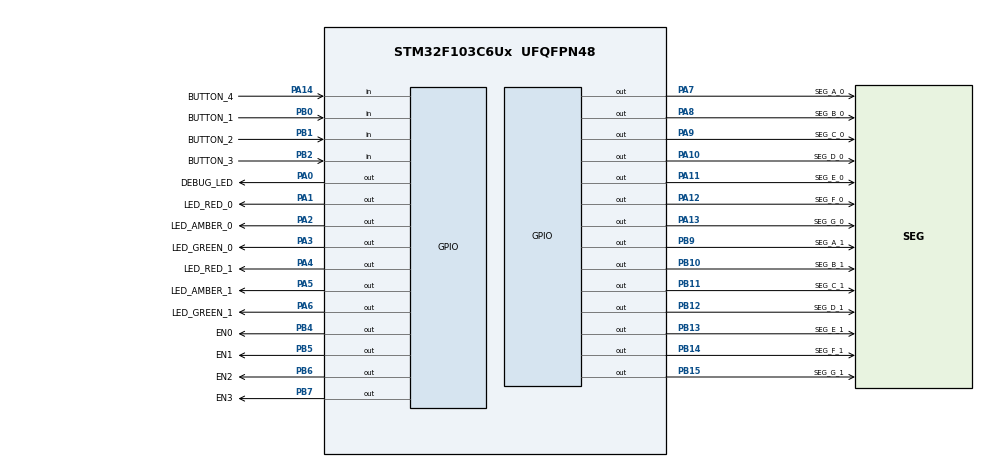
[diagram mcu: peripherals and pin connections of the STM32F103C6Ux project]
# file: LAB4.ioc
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Mcu.Family=STM32F1
Mcu.Name=STM32F103C6Ux
Mcu.Package=UFQFPN48
NVIC.PriorityGroup=NVIC_PRIORITYGROUP_4
NVIC.TIM2_IRQn=true\:0\:0\:false\:false\:true\:true\:true
PA0-WKUP.GPIO_Label=DEBUG_LED
PA0-WKUP.Signal=GPIO_Output
PA1.GPIO_Label=LED_RED_0
PA1.Signal=GPIO_Output
PA10.GPIO_Label=SEG_D_0
PA10.Signal=GPIO_Output
PA11.GPIO_Label=SEG_E_0
PA11.Signal=GPIO_Output
PA12.GPIO_Label=SEG_F_0
PA12.Signal=GPIO_Output
PA13.GPIO_Label=SEG_G_0
PA13.Signal=GPIO_Output
PA14.GPIO_Label=BUTTON_4
PA14.GPIO_PuPd=GPIO_PULLUP
PA14.Signal=GPIO_Input
PA2.GPIO_Label=LED_AMBER_0
PA2.Signal=GPIO_Output
PA3.GPIO_Label=LED_GREEN_0
PA3.Signal=GPIO_Output
PA4.GPIO_Label=LED_RED_1
PA4.Signal=GPIO_Output
PA5.GPIO_Label=LED_AMBER_1
PA5.Signal=GPIO_Output
PA6.GPIO_Label=LED_GREEN_1
PA6.Signal=GPIO_Output
PA7.GPIO_Label=SEG_A_0
PA7.Signal=GPIO_Output
PA8.GPIO_Label=SEG_B_0
PA8.Signal=GPIO_Output
PA9.GPIO_Label=SEG_C_0
PA9.Signal=GPIO_Output
PB0.GPIO_Label=BUTTON_1
PB0.GPIO_PuPd=GPIO_PULLUP
PB0.Signal=GPIO_Input
PB1.GPIO_Label=BUTTON_2
PB1.GPIO_PuPd=GPIO_PULLUP
PB1.Signal=GPIO_Input
PB10.GPIO_Label=SEG_B_1
PB10.Signal=GPIO_Output
PB11.GPIO_Label=SEG_C_1
PB11.Signal=GPIO_Output
PB12.GPIO_Label=SEG_D_1
PB12.Signal=GPIO_Output
PB13.GPIO_Label=SEG_E_1
PB13.Signal=GPIO_Output
PB14.GPIO_Label=SEG_F_1
PB14.Signal=GPIO_Output
PB15.GPIO_Label=SEG_G_1
PB15.Signal=GPIO_Output
PB2.GPIO_Label=BUTTON_3
PB2.GPIO_PuPd=GPIO_PULLUP
PB2.Signal=GPIO_Input
PB4.GPIO_Label=EN0
PB4.Signal=GPIO_Output
PB5.GPIO_Label=EN1
PB5.Signal=GPIO_Output
PB6.GPIO_Label=EN2
PB6.Signal=GPIO_Output
PB7.GPIO_Label=EN3
PB7.Signal=GPIO_Output
PB9.GPIO_Label=SEG_A_1
PB9.Signal=GPIO_Output
ProjectManager.HeapSize=0x200
ProjectManager.StackSize=0x400
ProjectManager.TargetToolchain=STM32CubeIDE
RCC.APB1Freq_Value=8000000
RCC.APB2Freq_Value=8000000
TIM2.Period=9
TIM2.Prescaler=7999
VP_SYS_VS_ND.Mode=No_Debug
VP_TIM2_VS_ClockSourceINT.Mode=Internal
board=custom

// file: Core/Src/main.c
/* USER CODE BEGIN Header */
/**
  ******************************************************************************
  * @file           : main.c
  * @brief          : Main program body
  ******************************************************************************
  * @attention
  *
  * <h2><center>&copy; Copyright (c) 2025 STMicroelectronics.
  * All rights reserved.</center></h2>
  *
  * This software component is licensed by ST under BSD 3-Clause license,
  * the "License"; You may not use this file except in compliance with the
  * License. You may obtain a copy of the License at:
  *                        opensource.org/licenses/BSD-3-Clause
  *
  ******************************************************************************
  */
/* USER CODE END Header */
#include "main.h"

/* USER CODE BEGIN Includes */
#include "global.h"
#include "scheduler.h"
#include "input_reading.h"
#include "display7SEG.h"
#include "displayLED.h"
#include "fsm_automatic.h"
#include "fsm_manual.h"
#include "fsm_config.h"
/* USER CODE END Includes */

TIM_HandleTypeDef htim2;

void SystemClock_Config(void);
static void MX_GPIO_Init(void);
static void MX_TIM2_Init(void);

int main(void)
{

  /* MCU Configuration--------------------------------------------------------*/

  /* Reset of all peripherals, Initializes the Flash interface and the Systick. */
  HAL_Init();

  /* Configure the system clock */
  SystemClock_Config();

  /* Initialize all configured peripherals */
  MX_GPIO_Init();
  MX_TIM2_Init();
  /* USER CODE BEGIN 2 */
  HAL_TIM_Base_Start_IT(&htim2);
  SCH_Init();

  // Add task: 3 FSM
  SCH_Add_Task(fsm_automatic_run, 100, 100);
  SCH_Add_Task(fsm_manual_run, 100, 100);
  SCH_Add_Task(fsm_config_run, 100, 100);

  // Add task: other helper functions
  SCH_Add_Task(update_7seg_multiplex, 0, 125);
  SCH_Add_Task(blink_debug_led, 1000, 1000);
  SCH_Add_Task(button_reading, 0, 10);

  /* USER CODE END 2 */

  /* Infinite loop */
  /* USER CODE BEGIN WHILE */
  while (1)
  {
	  SCH_Dispatch_Tasks();
	  __WFI(); //Wait for interrupt
    /* USER CODE END WHILE */

  }
}

void SystemClock_Config(void)
{
  RCC_OscInitTypeDef RCC_OscInitStruct = {0};
  RCC_ClkInitTypeDef RCC_ClkInitStruct = {0};

  /** Initializes the RCC Oscillators according to the specified parameters
  * in the RCC_OscInitTypeDef structure.
  */
  RCC_OscInitStruct.OscillatorType = RCC_OSCILLATORTYPE_HSI;
  RCC_OscInitStruct.HSIState = RCC_HSI_ON;
  RCC_OscInitStruct.HSICalibrationValue = RCC_HSICALIBRATION_DEFAULT;
  RCC_OscInitStruct.PLL.PLLState = RCC_PLL_NONE;
  if (HAL_RCC_OscConfig(&RCC_OscInitStruct) != HAL_OK)
  {
    Error_Handler();
  }
  /** Initializes the CPU, AHB and APB buses clocks
  */
  RCC_ClkInitStruct.ClockType = RCC_CLOCKTYPE_HCLK|RCC_CLOCKTYPE_SYSCLK
                              |RCC_CLOCKTYPE_PCLK1|RCC_CLOCKTYPE_PCLK2;
  RCC_ClkInitStruct.SYSCLKSource = RCC_SYSCLKSOURCE_HSI;
  RCC_ClkInitStruct.AHBCLKDivider = RCC_SYSCLK_DIV1;
  RCC_ClkInitStruct.APB1CLKDivider = RCC_HCLK_DIV1;
  RCC_ClkInitStruct.APB2CLKDivider = RCC_HCLK_DIV1;

  if (HAL_RCC_ClockConfig(&RCC_ClkInitStruct, FLASH_LATENCY_0) != HAL_OK)
  {
    Error_Handler();
  }
}

static void MX_TIM2_Init(void)
{

  TIM_ClockConfigTypeDef sClockSourceConfig = {0};
  TIM_MasterConfigTypeDef sMasterConfig = {0};

  htim2.Instance = TIM2;
  htim2.Init.Prescaler = 7999;
  htim2.Init.CounterMode = TIM_COUNTERMODE_UP;
  htim2.Init.Period = 9;
  htim2.Init.ClockDivision = TIM_CLOCKDIVISION_DIV1;
  htim2.Init.AutoReloadPreload = TIM_AUTORELOAD_PRELOAD_DISABLE;
  if (HAL_TIM_Base_Init(&htim2) != HAL_OK)
  {
    Error_Handler();
  }
  sClockSourceConfig.ClockSource = TIM_CLOCKSOURCE_INTERNAL;
  if (HAL_TIM_ConfigClockSource(&htim2, &sClockSourceConfig) != HAL_OK)
  {
    Error_Handler();
  }
  sMasterConfig.MasterOutputTrigger = TIM_TRGO_RESET;
  sMasterConfig.MasterSlaveMode = TIM_MASTERSLAVEMODE_DISABLE;
  if (HAL_TIMEx_MasterConfigSynchronization(&htim2, &sMasterConfig) != HAL_OK)
  {
    Error_Handler();
  }

}

static void MX_GPIO_Init(void)
{
  GPIO_InitTypeDef GPIO_InitStruct = {0};

  /* GPIO Ports Clock Enable */
  __HAL_RCC_GPIOA_CLK_ENABLE();
  __HAL_RCC_GPIOB_CLK_ENABLE();

  /*Configure GPIO pin Output Level */
  HAL_GPIO_WritePin(GPIOA, DEBUG_LED_Pin|LED_RED_0_Pin|LED_AMBER_0_Pin|LED_GREEN_0_Pin
                          |LED_RED_1_Pin|LED_AMBER_1_Pin|LED_GREEN_1_Pin|SEG_A_0_Pin
                          |SEG_B_0_Pin|SEG_C_0_Pin|SEG_D_0_Pin|SEG_E_0_Pin
                          |SEG_F_0_Pin|SEG_G_0_Pin, GPIO_PIN_RESET);

  /*Configure GPIO pin Output Level */
  HAL_GPIO_WritePin(GPIOB, SEG_B_1_Pin|SEG_C_1_Pin|SEG_D_1_Pin|SEG_E_1_Pin
                          |SEG_F_1_Pin|SEG_G_1_Pin|EN0_Pin|EN1_Pin
                          |EN2_Pin|EN3_Pin|SEG_A_1_Pin, GPIO_PIN_RESET);

  /*Configure GPIO pins : DEBUG_LED_Pin LED_RED_0_Pin LED_AMBER_0_Pin LED_GREEN_0_Pin
                           LED_RED_1_Pin LED_AMBER_1_Pin LED_GREEN_1_Pin SEG_A_0_Pin
                           SEG_B_0_Pin SEG_C_0_Pin SEG_D_0_Pin SEG_E_0_Pin
                           SEG_F_0_Pin SEG_G_0_Pin */
  GPIO_InitStruct.Pin = DEBUG_LED_Pin|LED_RED_0_Pin|LED_AMBER_0_Pin|LED_GREEN_0_Pin
                          |LED_RED_1_Pin|LED_AMBER_1_Pin|LED_GREEN_1_Pin|SEG_A_0_Pin
                          |SEG_B_0_Pin|SEG_C_0_Pin|SEG_D_0_Pin|SEG_E_0_Pin
                          |SEG_F_0_Pin|SEG_G_0_Pin;
  GPIO_InitStruct.Mode = GPIO_MODE_OUTPUT_PP;
  GPIO_InitStruct.Pull = GPIO_NOPULL;
  GPIO_InitStruct.Speed = GPIO_SPEED_FREQ_LOW;
  HAL_GPIO_Init(GPIOA, &GPIO_InitStruct);

  /*Configure GPIO pins : BUTTON_1_Pin BUTTON_2_Pin BUTTON_3_Pin */
  GPIO_InitStruct.Pin = BUTTON_1_Pin|BUTTON_2_Pin|BUTTON_3_Pin;
  GPIO_InitStruct.Mode = GPIO_MODE_INPUT;
  GPIO_InitStruct.Pull = GPIO_PULLUP;
  HAL_GPIO_Init(GPIOB, &GPIO_InitStruct);

  /*Configure GPIO pins : SEG_B_1_Pin SEG_C_1_Pin SEG_D_1_Pin SEG_E_1_Pin
                           SEG_F_1_Pin SEG_G_1_Pin EN0_Pin EN1_Pin
                           EN2_Pin EN3_Pin SEG_A_1_Pin */
  GPIO_InitStruct.Pin = SEG_B_1_Pin|SEG_C_1_Pin|SEG_D_1_Pin|SEG_E_1_Pin
                          |SEG_F_1_Pin|SEG_G_1_Pin|EN0_Pin|EN1_Pin
                          |EN2_Pin|EN3_Pin|SEG_A_1_Pin;
  GPIO_InitStruct.Mode = GPIO_MODE_OUTPUT_PP;
  GPIO_InitStruct.Pull = GPIO_NOPULL;
  GPIO_InitStruct.Speed = GPIO_SPEED_FREQ_LOW;
  HAL_GPIO_Init(GPIOB, &GPIO_InitStruct);

  /*Configure GPIO pin : BUTTON_4_Pin */
  GPIO_InitStruct.Pin = BUTTON_4_Pin;
  GPIO_InitStruct.Mode = GPIO_MODE_INPUT;
  GPIO_InitStruct.Pull = GPIO_PULLUP;
  HAL_GPIO_Init(BUTTON_4_GPIO_Port, &GPIO_InitStruct);

}

/* USER CODE BEGIN 4 */
void HAL_TIM_PeriodElapsedCallback(TIM_HandleTypeDef *htim) {
	SCH_Update();
}
/* USER CODE END 4 */

void Error_Handler(void)
{
  __disable_irq();
  while (1)
  {
  }
}

/************************ (C) COPYRIGHT STMicroelectronics *****END OF FILE****/
